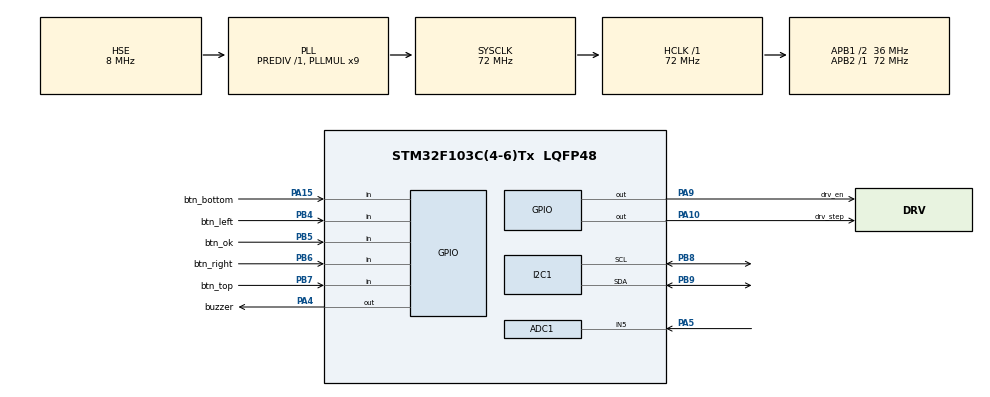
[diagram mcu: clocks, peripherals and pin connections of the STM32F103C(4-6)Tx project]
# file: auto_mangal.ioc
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ADC1.Channel-3\#ChannelRegularConversion=ADC_CHANNEL_5
ADC1.ContinuousConvMode=ENABLE
ADC1.NbrOfConversionFlag=1
ADC1.Rank-3\#ChannelRegularConversion=1
ADC1.SamplingTime-3\#ChannelRegularConversion=ADC_SAMPLETIME_1CYCLE_5
ADC1.master=1
FREERTOS.INCLUDE_eTaskGetState=1
FREERTOS.INCLUDE_xTaskAbortDelay=1
FREERTOS.Queues01=buttonPressedQueue,8,uint8_t,0,Dynamic,NULL,NULL
FREERTOS.Tasks01=readKeyTask,1,128,StartReadKeyTask,Default,NULL,Dynamic,NULL,NULL;guiTask,0,128,StartGuiTask,Default,NULL,Dynamic,NULL,NULL;driverTask,2,128,StartDriverTask,Default,NULL,Dynamic,NULL,NULL
FREERTOS.Timers01=cancelButton,cancelButtonCallback,osTimerOnce,Default,NULL,Dynamic,NULL;screenTimeoutTimer,screenTimeoutCallback,osTimerOnce,Default,NULL,Dynamic,NULL
FREERTOS.configUSE_TIMERS=1
Mcu.Family=STM32F1
Mcu.Name=STM32F103C(4-6)Tx
Mcu.Package=LQFP48
NVIC.PriorityGroup=NVIC_PRIORITYGROUP_4
PA10.GPIO_Label=drv_step
PA10.GPIO_PuPd=GPIO_PULLDOWN
PA10.GPIO_Speed=GPIO_SPEED_FREQ_LOW
PA10.Signal=GPIO_Output
PA13.Mode=Trace_Asynchronous_SW
PA13.Signal=SYS_JTMS-SWDIO
PA14.Mode=Trace_Asynchronous_SW
PA14.Signal=SYS_JTCK-SWCLK
PA15.GPIO_Label=btn_bottom
PA15.GPIO_PuPd=GPIO_PULLUP
PA15.Signal=GPIO_Input
PA4.GPIO_Label=buzzer
PA4.Signal=GPIO_Output
PA5.Signal=ADCx_IN5
PA9.GPIO_Label=drv_en
PA9.GPIO_PuPd=GPIO_PULLUP
PA9.PinState=GPIO_PIN_SET
PA9.Signal=GPIO_Output
PB3.Mode=Trace_Asynchronous_SW
PB3.Signal=SYS_JTDO-TRACESWO
PB4.GPIO_Label=btn_left
PB4.GPIO_PuPd=GPIO_PULLUP
PB4.Signal=GPIO_Input
PB5.GPIO_Label=btn_ok
PB5.GPIO_PuPd=GPIO_PULLUP
PB5.Signal=GPIO_Input
PB6.GPIO_Label=btn_right
PB6.GPIO_PuPd=GPIO_PULLUP
PB6.Signal=GPIO_Input
PB7.GPIO_Label=btn_top
PB7.GPIO_PuPd=GPIO_PULLUP
PB7.Signal=GPIO_Input
PB8.Mode=I2C
PB8.Signal=I2C1_SCL
PB9.Mode=I2C
PB9.Signal=I2C1_SDA
PD0-OSC_IN.Mode=HSE-External-Oscillator
PD0-OSC_IN.Signal=RCC_OSC_IN
PD1-OSC_OUT.Mode=HSE-External-Oscillator
PD1-OSC_OUT.Signal=RCC_OSC_OUT
ProjectManager.HeapSize=0x200
ProjectManager.StackSize=0x400
ProjectManager.TargetToolchain=STM32CubeIDE
RCC.ADCPresc=RCC_ADCPCLK2_DIV6
RCC.AHBFreq_Value=72000000
RCC.APB1CLKDivider=RCC_HCLK_DIV2
RCC.APB1Freq_Value=36000000
RCC.APB1TimFreq_Value=72000000
RCC.APB2Freq_Value=72000000
RCC.APB2TimFreq_Value=72000000
RCC.HCLKFreq_Value=72000000
RCC.PLLMUL=RCC_PLL_MUL9
RCC.PLLSourceVirtual=RCC_PLLSOURCE_HSE
RCC.SYSCLKFreq_VALUE=72000000
RCC.SYSCLKSource=RCC_SYSCLKSOURCE_PLLCLK
RCC.USBFreq_Value=72000000
SH.ADCx_IN5.0=ADC1_IN5,IN5
VP_FREERTOS_VS_CMSIS_V1.Mode=CMSIS_V1
board=custom

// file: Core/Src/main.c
/* USER CODE BEGIN Header */
/**
  ******************************************************************************
  * @file           : main.c
  * @brief          : Main program body
  ******************************************************************************
  * @attention
  *
  * Copyright (c) 2024 STMicroelectronics.
  * All rights reserved.
  *
  * This software is licensed under terms that can be found in the LICENSE file
  * in the root directory of this software component.
  * If no LICENSE file comes with this software, it is provided AS-IS.
  *
  ******************************************************************************
  */
/* USER CODE END Header */
#include "main.h"
#include "cmsis_os.h"

/* USER CODE BEGIN Includes */
#include "logo.h"
#include "ruFonts.h"
#include "ssd1306.h"
#include "stdio.h"
#include <math.h>

/* USER CODE END Includes */

ADC_HandleTypeDef hadc1;

I2C_HandleTypeDef hi2c1;

osThreadId readKeyTaskHandle;
osThreadId guiTaskHandle;
osThreadId driverTaskHandle;
osMessageQId buttonPressedQueueHandle;
osTimerId cancelButtonHandle;
osTimerId screenTimeoutTimerHandle;
/* USER CODE BEGIN PV */
uint16_t adcBatteryVoltage = 0;

uint8_t guiState = 0; //motor settings
uint8_t speed = 5;
uint8_t sleep = 60;
uint8_t corner = 45;
/* USER CODE END PV */

void SystemClock_Config(void);
static void MX_GPIO_Init(void);
static void MX_I2C1_Init(void);
static void MX_ADC1_Init(void);
void StartReadKeyTask(void const * argument);
void StartGuiTask(void const * argument);
void StartDriverTask(void const * argument);
void cancelButtonCallback(void const * argument);
void screenTimeoutCallback(void const * argument);

/* USER CODE BEGIN 0 */
int _write(int file, char *ptr, int len)
{
  (void)file;
  int DataIdx;

  for (DataIdx = 0; DataIdx < len; DataIdx++)
  {
    ITM_SendChar(*ptr++);
  }
  return len;
}
/* USER CODE END 0 */

int main(void)
{

  /* MCU Configuration--------------------------------------------------------*/

  /* Reset of all peripherals, Initializes the Flash interface and the Systick. */
  HAL_Init();

  /* Configure the system clock */
  SystemClock_Config();

  /* Initialize all configured peripherals */
  MX_GPIO_Init();
  MX_I2C1_Init();
  MX_ADC1_Init();
  /* USER CODE BEGIN 2 */

  ssd1306_Init();
  ssd1306_Fill(Black);
  ssd1306_DrawBitmap(43, 2, logo, 42, 42, White);
  ssd1306_SetCursor(11, 46);
  ssd1306_WriteString("АвтоШашлык V0.1", RuFont_7x13, White);
  ssd1306_UpdateScreen();
  HAL_ADCEx_Calibration_Start(&hadc1);
  //HAL_Delay(2000);

  /* USER CODE END 2 */

  /* Create the timer(s) */
  /* definition and creation of cancelButton */
  osTimerDef(cancelButton, cancelButtonCallback);
  cancelButtonHandle = osTimerCreate(osTimer(cancelButton), osTimerOnce, NULL);

  /* definition and creation of screenTimeoutTimer */
  osTimerDef(screenTimeoutTimer, screenTimeoutCallback);
  screenTimeoutTimerHandle = osTimerCreate(osTimer(screenTimeoutTimer), osTimerOnce, NULL);

  /* Create the queue(s) */
  /* definition and creation of buttonPressedQueue */
  osMessageQDef(buttonPressedQueue, 8, uint8_t);
  buttonPressedQueueHandle = osMessageCreate(osMessageQ(buttonPressedQueue), NULL);

  /* Create the thread(s) */
  /* definition and creation of readKeyTask */
  osThreadDef(readKeyTask, StartReadKeyTask, osPriorityAboveNormal, 0, 128);
  readKeyTaskHandle = osThreadCreate(osThread(readKeyTask), NULL);

  /* definition and creation of guiTask */
  osThreadDef(guiTask, StartGuiTask, osPriorityNormal, 0, 128);
  guiTaskHandle = osThreadCreate(osThread(guiTask), NULL);

  /* definition and creation of driverTask */
  osThreadDef(driverTask, StartDriverTask, osPriorityHigh, 0, 128);
  driverTaskHandle = osThreadCreate(osThread(driverTask), NULL);

  /* USER CODE BEGIN RTOS_THREADS */
  /* add threads, ... */
  osThreadSuspend(driverTaskHandle);
  /* USER CODE END RTOS_THREADS */

  /* Start scheduler */
  osKernelStart();

  /* We should never get here as control is now taken by the scheduler */

  /* Infinite loop */
  while (1)
  {

  }
}

void SystemClock_Config(void)
{
  RCC_OscInitTypeDef RCC_OscInitStruct = {0};
  RCC_ClkInitTypeDef RCC_ClkInitStruct = {0};
  RCC_PeriphCLKInitTypeDef PeriphClkInit = {0};

  /** Initializes the RCC Oscillators according to the specified parameters
  * in the RCC_OscInitTypeDef structure.
  */
  RCC_OscInitStruct.OscillatorType = RCC_OSCILLATORTYPE_HSE;
  RCC_OscInitStruct.HSEState = RCC_HSE_ON;
  RCC_OscInitStruct.HSEPredivValue = RCC_HSE_PREDIV_DIV1;
  RCC_OscInitStruct.HSIState = RCC_HSI_ON;
  RCC_OscInitStruct.PLL.PLLState = RCC_PLL_ON;
  RCC_OscInitStruct.PLL.PLLSource = RCC_PLLSOURCE_HSE;
  RCC_OscInitStruct.PLL.PLLMUL = RCC_PLL_MUL9;
  if (HAL_RCC_OscConfig(&RCC_OscInitStruct) != HAL_OK)
  {
    Error_Handler();
  }

  /** Initializes the CPU, AHB and APB buses clocks
  */
  RCC_ClkInitStruct.ClockType = RCC_CLOCKTYPE_HCLK|RCC_CLOCKTYPE_SYSCLK
                              |RCC_CLOCKTYPE_PCLK1|RCC_CLOCKTYPE_PCLK2;
  RCC_ClkInitStruct.SYSCLKSource = RCC_SYSCLKSOURCE_PLLCLK;
  RCC_ClkInitStruct.AHBCLKDivider = RCC_SYSCLK_DIV1;
  RCC_ClkInitStruct.APB1CLKDivider = RCC_HCLK_DIV2;
  RCC_ClkInitStruct.APB2CLKDivider = RCC_HCLK_DIV1;

  if (HAL_RCC_ClockConfig(&RCC_ClkInitStruct, FLASH_LATENCY_2) != HAL_OK)
  {
    Error_Handler();
  }
  PeriphClkInit.PeriphClockSelection = RCC_PERIPHCLK_ADC;
  PeriphClkInit.AdcClockSelection = RCC_ADCPCLK2_DIV6;
  if (HAL_RCCEx_PeriphCLKConfig(&PeriphClkInit) != HAL_OK)
  {
    Error_Handler();
  }
}

static void MX_ADC1_Init(void)
{

  ADC_ChannelConfTypeDef sConfig = {0};

  /** Common config
  */
  hadc1.Instance = ADC1;
  hadc1.Init.ScanConvMode = ADC_SCAN_DISABLE;
  hadc1.Init.ContinuousConvMode = ENABLE;
  hadc1.Init.DiscontinuousConvMode = DISABLE;
  hadc1.Init.ExternalTrigConv = ADC_SOFTWARE_START;
  hadc1.Init.DataAlign = ADC_DATAALIGN_RIGHT;
  hadc1.Init.NbrOfConversion = 1;
  if (HAL_ADC_Init(&hadc1) != HAL_OK)
  {
    Error_Handler();
  }

  /** Configure Regular Channel
  */
  sConfig.Channel = ADC_CHANNEL_5;
  sConfig.Rank = ADC_REGULAR_RANK_1;
  sConfig.SamplingTime = ADC_SAMPLETIME_1CYCLE_5;
  if (HAL_ADC_ConfigChannel(&hadc1, &sConfig) != HAL_OK)
  {
    Error_Handler();
  }

}

static void MX_I2C1_Init(void)
{

  hi2c1.Instance = I2C1;
  hi2c1.Init.ClockSpeed = 100000;
  hi2c1.Init.DutyCycle = I2C_DUTYCYCLE_2;
  hi2c1.Init.OwnAddress1 = 0;
  hi2c1.Init.AddressingMode = I2C_ADDRESSINGMODE_7BIT;
  hi2c1.Init.DualAddressMode = I2C_DUALADDRESS_DISABLE;
  hi2c1.Init.OwnAddress2 = 0;
  hi2c1.Init.GeneralCallMode = I2C_GENERALCALL_DISABLE;
  hi2c1.Init.NoStretchMode = I2C_NOSTRETCH_DISABLE;
  if (HAL_I2C_Init(&hi2c1) != HAL_OK)
  {
    Error_Handler();
  }

}

static void MX_GPIO_Init(void)
{
  GPIO_InitTypeDef GPIO_InitStruct = {0};

  /* GPIO Ports Clock Enable */
  __HAL_RCC_GPIOD_CLK_ENABLE();
  __HAL_RCC_GPIOA_CLK_ENABLE();
  __HAL_RCC_GPIOB_CLK_ENABLE();

  /*Configure GPIO pin Output Level */
  HAL_GPIO_WritePin(GPIOA, buzzer_Pin|drv_step_Pin, GPIO_PIN_RESET);

  /*Configure GPIO pin Output Level */
  HAL_GPIO_WritePin(drv_en_GPIO_Port, drv_en_Pin, GPIO_PIN_SET);

  /*Configure GPIO pin : buzzer_Pin */
  GPIO_InitStruct.Pin = buzzer_Pin;
  GPIO_InitStruct.Mode = GPIO_MODE_OUTPUT_PP;
  GPIO_InitStruct.Pull = GPIO_NOPULL;
  GPIO_InitStruct.Speed = GPIO_SPEED_FREQ_LOW;
  HAL_GPIO_Init(buzzer_GPIO_Port, &GPIO_InitStruct);

  /*Configure GPIO pin : drv_en_Pin */
  GPIO_InitStruct.Pin = drv_en_Pin;
  GPIO_InitStruct.Mode = GPIO_MODE_OUTPUT_PP;
  GPIO_InitStruct.Pull = GPIO_PULLUP;
  GPIO_InitStruct.Speed = GPIO_SPEED_FREQ_LOW;
  HAL_GPIO_Init(drv_en_GPIO_Port, &GPIO_InitStruct);

  /*Configure GPIO pin : drv_step_Pin */
  GPIO_InitStruct.Pin = drv_step_Pin;
  GPIO_InitStruct.Mode = GPIO_MODE_OUTPUT_PP;
  GPIO_InitStruct.Pull = GPIO_PULLDOWN;
  GPIO_InitStruct.Speed = GPIO_SPEED_FREQ_LOW;
  HAL_GPIO_Init(drv_step_GPIO_Port, &GPIO_InitStruct);

  /*Configure GPIO pin : btn_bottom_Pin */
  GPIO_InitStruct.Pin = btn_bottom_Pin;
  GPIO_InitStruct.Mode = GPIO_MODE_INPUT;
  GPIO_InitStruct.Pull = GPIO_PULLUP;
  HAL_GPIO_Init(btn_bottom_GPIO_Port, &GPIO_InitStruct);

  /*Configure GPIO pins : btn_left_Pin btn_ok_Pin btn_right_Pin btn_top_Pin */
  GPIO_InitStruct.Pin = btn_left_Pin|btn_ok_Pin|btn_right_Pin|btn_top_Pin;
  GPIO_InitStruct.Mode = GPIO_MODE_INPUT;
  GPIO_InitStruct.Pull = GPIO_PULLUP;
  HAL_GPIO_Init(GPIOB, &GPIO_InitStruct);

}

void StartReadKeyTask(void const * argument)
{
  /* USER CODE BEGIN 5 */
  #define SCREEN_TIMEOUT 30000
  osTimerStart(screenTimeoutTimerHandle, SCREEN_TIMEOUT);
  /* Infinite loop */
  for(;;)
  {

	if (HAL_GPIO_ReadPin(btn_bottom_GPIO_Port, btn_bottom_Pin) == 0) {
	    if (ssd1306_GetDisplayOn()==0) osMessagePut(buttonPressedQueueHandle, 6, 100); else osMessagePut(buttonPressedQueueHandle, 0, 100);
	    while(HAL_GPIO_ReadPin(btn_bottom_GPIO_Port, btn_bottom_Pin) == 0)
	    {
		    osDelay(1);
	    }
	    osTimerStart(screenTimeoutTimerHandle, SCREEN_TIMEOUT);
	}
	else if (HAL_GPIO_ReadPin(btn_top_GPIO_Port, btn_top_Pin) == 0) {
	    if (ssd1306_GetDisplayOn()==0) osMessagePut(buttonPressedQueueHandle, 6, 100); else osMessagePut(buttonPressedQueueHandle, 1, 100);
	    while(HAL_GPIO_ReadPin(btn_top_GPIO_Port, btn_top_Pin) == 0)
	    {
		    osDelay(1);
	    }
	    osTimerStart(screenTimeoutTimerHandle, SCREEN_TIMEOUT);
	}
	else if (HAL_GPIO_ReadPin(btn_left_GPIO_Port, btn_left_Pin) == 0) {
	    if (ssd1306_GetDisplayOn()==0) osMessagePut(buttonPressedQueueHandle, 6, 100); else osMessagePut(buttonPressedQueueHandle, 2, 100);
	    while(HAL_GPIO_ReadPin(btn_left_GPIO_Port, btn_left_Pin) == 0)
	    {
		    osDelay(1);
	    }
	    osTimerStart(screenTimeoutTimerHandle, SCREEN_TIMEOUT);
	}
	else if (HAL_GPIO_ReadPin(btn_right_GPIO_Port, btn_right_Pin) == 0) {
	    if (ssd1306_GetDisplayOn()==0) osMessagePut(buttonPressedQueueHandle, 6, 100); else osMessagePut(buttonPressedQueueHandle, 3, 100);
	    while(HAL_GPIO_ReadPin(btn_right_GPIO_Port, btn_right_Pin) == 0)
	    {
		    osDelay(1);
	    }
	    osTimerStart(screenTimeoutTimerHandle, SCREEN_TIMEOUT);
	}
	else if (HAL_GPIO_ReadPin(btn_ok_GPIO_Port, btn_ok_Pin) == 0) {
	    osTimerStart(cancelButtonHandle, 1000);
	    while(HAL_GPIO_ReadPin(btn_ok_GPIO_Port, btn_ok_Pin) == 0)
	    {
		    osDelay(1);
	    }
	    osTimerStart(screenTimeoutTimerHandle, SCREEN_TIMEOUT);
	    if (xTimerIsTimerActive(cancelButtonHandle) != pdFALSE) {
		if (ssd1306_GetDisplayOn()==0) osMessagePut(buttonPressedQueueHandle, 6, 100); else osMessagePut(buttonPressedQueueHandle, 4, 100);
		//short press
	    }
	    osTimerStop(cancelButtonHandle);
	}

    osDelay(10);
  }
  /* USER CODE END 5 */
}

void StartGuiTask(void const * argument)
{
  /* USER CODE BEGIN StartGuiTask */
  osEvent btnEvent;
  uint8_t selectedMode = 0;
  uint8_t intermittentModeMenuPointer = 0;
  /* Infinite loop */

  for(;;)
  {
      HAL_ADC_Start(&hadc1); // запускаем преобразование сигнала АЦП
      HAL_ADC_PollForConversion(&hadc1, 100); // ожидаем окончания преобразования
      adcBatteryVoltage = HAL_ADC_GetValue(&hadc1); // читаем полученное значение в переменную adc
      HAL_ADC_Stop(&hadc1); // останавливаем АЦП (не обязательно)
      printf("ADC %d\n", adcBatteryVoltage);

      ssd1306_Fill(Black);
      ssd1306_DrawRectangle(0, 0, 127, 63, White);

      if(adcBatteryVoltage > 3523)
	{
	  ssd1306_DrawRectangle(102, 3, 122, 12, White);
	  ssd1306_FillRectangle(104, 5, 108, 10, White);
	  ssd1306_FillRectangle(110, 5, 114, 10, White);
	  ssd1306_FillRectangle(116, 5, 120, 10, White);
	  ssd1306_DrawRectangle(123, 6, 124, 9, White);
	}
      else if(adcBatteryVoltage > 3237 && adcBatteryVoltage < 3522)
	{
	  ssd1306_DrawRectangle(102, 3, 122, 12, White);
	  ssd1306_FillRectangle(104, 5, 108, 10, White);
	  ssd1306_FillRectangle(110, 5, 114, 10, White);
	  ssd1306_DrawRectangle(123, 6, 124, 9, White);
	}
      else if(adcBatteryVoltage > 3047 && adcBatteryVoltage < 3236)
	{
	  ssd1306_DrawRectangle(102, 3, 122, 12, White);
	  ssd1306_FillRectangle(104, 5, 108, 10, White);
	  ssd1306_DrawRectangle(123, 6, 124, 9, White);
	}
      else if(adcBatteryVoltage < 3046)
	{
	  ssd1306_DrawRectangle(102, 3, 122, 12, White);
	  ssd1306_DrawRectangle(123, 6, 124, 9, White);
	}

      btnEvent = osMessageGet(buttonPressedQueueHandle, 100);

      switch (guiState) {
	case 0: // mode select
	  ssd1306_SetCursor(1,1);
	  ssd1306_WriteString("Выбор режима", RuFont_7x13, Black);
	  if (selectedMode == 0) {
	    ssd1306_SetCursor(4,16);
	    ssd1306_WriteString("> Постоянный", RuFont_7x13, White);
	    ssd1306_SetCursor(4,30);
	    ssd1306_WriteString("  Прерывистый", RuFont_7x13, White);
	  } else if (selectedMode == 1) {
	    ssd1306_SetCursor(4,16);
	    ssd1306_WriteString("  Постоянный", RuFont_7x13, White);
	    ssd1306_SetCursor(4,30);
	    ssd1306_WriteString("> Прерывистый", RuFont_7x13, White);
	  }
	  if (btnEvent.status == osEventMessage)
	  {
	    if (btnEvent.value.v == 0 || btnEvent.value.v == 1)
	    { //bottom or top
	      selectedMode = !selectedMode;
	    } else if (btnEvent.value.v == 4)
	    { //ok
	      if (selectedMode == 0)
	      {
		  guiState = 1;
	      } else if (selectedMode == 1)
	      {
		  guiState = 2;
	      }
	    }
	  }
	  break;
	case 1:
	  osThreadResume(driverTaskHandle);
	  ssd1306_SetCursor(1,1);
	  ssd1306_WriteString("Пост. реж.", RuFont_7x13, Black);
	  ssd1306_SetCursor(4,16);
	  ssd1306_WriteString("> Скорость: ", RuFont_7x13, White);
	  ssd1306_SetCursor(88,16);
	  char speedStr[3];
	  sprintf(speedStr, "%d", speed);
	  ssd1306_WriteString(speedStr, RuFont_7x13, White);
	  if (btnEvent.status == osEventMessage)
	  {
	    if (btnEvent.value.v == 2)
	    { //left
		if(speed == 1)
		{
		  speed = 10;
		}
		else
		{
		  speed--;
		}

	    } else if ( btnEvent.value.v == 3)
	      {//right
		if(speed == 10)
		{
		  speed = 1;
		}
		else
		{
		  speed++;
		}
	      }
	      else if (btnEvent.value.v == 5)
	    { //cancel
		guiState = 0;
		osThreadSuspend(driverTaskHandle);
		HAL_GPIO_WritePin(drv_en_GPIO_Port, drv_en_Pin, 1);
	    }
	  }
	  break;
	case 2:
	  osThreadResume(driverTaskHandle);
	  ssd1306_SetCursor(1,1);
	  ssd1306_WriteString("Прерыв. реж.", RuFont_7x13, Black);
	  if(intermittentModeMenuPointer == 0)
	   {
	      ssd1306_SetCursor(4,16);
	      ssd1306_WriteString("> Задержка: ", RuFont_7x13, White);
	      ssd1306_SetCursor(88,16);

	      uint8_t min = sleep / 60;
	      uint8_t sec = sleep % 60;

	      char minStr[2];
	      char secStr[2];

	      sprintf(minStr, "%d", min);
	      sprintf(secStr, "%d", sec);

	      char timeStr[5];

	      if(min <= 9)
	      {
		timeStr[0] = '0';
		timeStr[1] = minStr[0];
	      }
	      else
	      {
		timeStr[0] = minStr[0];
		timeStr[1] = timeStr[1];
	      }

	      timeStr[2] = ':';

	      if(sec <= 9)
	      {
		timeStr[3] = '0';
		timeStr[4] = secStr[0];
	      }
	      else
	      {
		timeStr[3] = secStr[0];
		timeStr[4] = secStr[1];
	      }

	      ssd1306_WriteString(timeStr, RuFont_7x13, White);
	      ssd1306_SetCursor(4,30);
	      ssd1306_WriteString("  Угол: ", RuFont_7x13, White);
	      ssd1306_SetCursor(56, 30);
	      char cornerStr[5];
	      sprintf(cornerStr, "%d", corner);
	      ssd1306_WriteString(cornerStr, RuFont_7x13, White);
	   }
	  else if(intermittentModeMenuPointer == 1)
	  {
	      ssd1306_SetCursor(4,16);
	      ssd1306_WriteString("  Задержка: ", RuFont_7x13, White);
	      ssd1306_SetCursor(88,16);

	      uint8_t min = sleep / 60;
	      uint8_t sec = sleep % 60;

	      char minStr[2];
	      char secStr[2];

	      sprintf(minStr, "%d", min);
	      sprintf(secStr, "%d", sec);

	      char timeStr[5];

	      if(min <= 9)
	      {
		timeStr[0] = '0';
		timeStr[1] = minStr[0];
	      }
	      else
	      {
		timeStr[0] = minStr[0];
		timeStr[1] = timeStr[1];
	      }

	      timeStr[2] = ':';

	      if(sec <= 9)
	      {
		timeStr[3] = '0';
		timeStr[4] = secStr[0];
	      }
	      else
	      {
		timeStr[3] = secStr[0];
		timeStr[4] = secStr[1];
	      }

	      ssd1306_WriteString(timeStr, RuFont_7x13, White);
	      ssd1306_SetCursor(4,30);
	      ssd1306_WriteString("> Угол: ", RuFont_7x13, White);
	      ssd1306_SetCursor(56, 30);
	      char cornerStr[3];
	      sprintf(cornerStr, "%d", corner);
	      ssd1306_WriteString(cornerStr, RuFont_7x13, White);
	  }
	  if (btnEvent.status == osEventMessage)
	  {
	    if (btnEvent.value.v == 0 || btnEvent.value.v == 1)
	    { //bottom or top
		intermittentModeMenuPointer = !intermittentModeMenuPointer;
	    } else if (btnEvent.value.v == 3)
	    {//right
		xTaskAbortDelay(driverTaskHandle);
		if(intermittentModeMenuPointer == 0)
		  {
		    if(sleep == 250)
		      sleep = 10;
		    else
		      sleep+=10;
		  }
		else if(intermittentModeMenuPointer == 1)
		  {
		    if(corner == 45)
			corner = 90;
		    else if(corner == 90)
		      corner = 45;
		  }
	    } else if (btnEvent.value.v == 2)
	      { //left
		xTaskAbortDelay(driverTaskHandle);
		if(intermittentModeMenuPointer == 0)
		  {
		    if(sleep == 10)
		      sleep = 250;
		    else
		      sleep-=10;
		  }
		else if(intermittentModeMenuPointer == 1)
		  {
		    if(corner == 45)
			corner = 90;
		    else if(corner == 90)
		      corner = 45;
		  }
	      }
	    else if (btnEvent.value.v == 5)
	    { //cancel
		guiState = 0;
		HAL_GPIO_WritePin(drv_en_GPIO_Port, drv_en_Pin, 1);
		osThreadSuspend(driverTaskHandle);

	    }
	  }
	  break;

	}

	if (btnEvent.status == osEventMessage)
	{
	  if (btnEvent.value.v == 0) { //bottom
		  HAL_GPIO_WritePin(buzzer_GPIO_Port, buzzer_Pin, 1);
		  osDelay(30);
		  HAL_GPIO_WritePin(buzzer_GPIO_Port, buzzer_Pin, 0);
	  } else if (btnEvent.value.v == 1) { //top
		  HAL_GPIO_WritePin(buzzer_GPIO_Port, buzzer_Pin, 1);
		  osDelay(30);
		  HAL_GPIO_WritePin(buzzer_GPIO_Port, buzzer_Pin, 0);
	  } else if (btnEvent.value.v == 2) { //left
		  HAL_GPIO_WritePin(buzzer_GPIO_Port, buzzer_Pin, 1);
		  osDelay(30);
		  HAL_GPIO_WritePin(buzzer_GPIO_Port, buzzer_Pin, 0);
	  } else if (btnEvent.value.v == 3) { //right
		  HAL_GPIO_WritePin(buzzer_GPIO_Port, buzzer_Pin, 1);
		  osDelay(30);
		  HAL_GPIO_WritePin(buzzer_GPIO_Port, buzzer_Pin, 0);
	  } else if (btnEvent.value.v == 4) { //ok
		  HAL_GPIO_WritePin(buzzer_GPIO_Port, buzzer_Pin, 1);
		  osDelay(50);
		  HAL_GPIO_WritePin(buzzer_GPIO_Port, buzzer_Pin, 0);
		  osDelay(50);
		  HAL_GPIO_WritePin(buzzer_GPIO_Port, buzzer_Pin, 1);
		  osDelay(30);
		  HAL_GPIO_WritePin(buzzer_GPIO_Port, buzzer_Pin, 0);
	  } else if (btnEvent.value.v == 5) { //cancel
		  HAL_GPIO_WritePin(buzzer_GPIO_Port, buzzer_Pin, 1);
		  osDelay(250);
		  HAL_GPIO_WritePin(buzzer_GPIO_Port, buzzer_Pin, 0);
	  } else if (btnEvent.value.v == 6) { //displayUnlock
		  ssd1306_SetDisplayOn(1);
	  }

	}

	ssd1306_UpdateScreen();
	osDelay(10);//
  }
  /* USER CODE END StartGuiTask */
}

void StartDriverTask(void const * argument)
{
  /* USER CODE BEGIN StartDriverTask */
  /* Infinite loop */
  for(;;)
  {
    HAL_GPIO_WritePin(drv_en_GPIO_Port, drv_en_Pin, 0);
    if (guiState == 1)  { //Постоянный
	HAL_GPIO_TogglePin(drv_step_GPIO_Port, drv_step_Pin);
	osDelay(fabs(speed-11));
    } else

    if (guiState == 2)  { //Прерывистый
      switch (corner) {
	case 45:
	  for (int var = 0; var < 800; var++) {
	    HAL_GPIO_TogglePin(drv_step_GPIO_Port, drv_step_Pin);
	    osDelay(1);
	  }
	  break;
	case 90:
	  for (int var = 0; var < 1600; var++) {
	    HAL_GPIO_TogglePin(drv_step_GPIO_Port, drv_step_Pin);
	    osDelay(1);
	  }
	  break;
      }
      osDelay(sleep*1000);
    }
  }
  /* USER CODE END StartDriverTask */
}

/* cancelButtonCallback function */
void cancelButtonCallback(void const * argument)
{
  /* USER CODE BEGIN cancelButtonCallback */
  if (ssd1306_GetDisplayOn()==0) osMessagePut(buttonPressedQueueHandle, 6, 100); else osMessagePut(buttonPressedQueueHandle, 5, 100);
  /* USER CODE END cancelButtonCallback */
}

/* screenTimeoutCallback function */
void screenTimeoutCallback(void const * argument)
{
  /* USER CODE BEGIN screenTimeoutCallback */
  ssd1306_SetDisplayOn(0);
  /* USER CODE END screenTimeoutCallback */
}

void Error_Handler(void)
{
  __disable_irq();
  while (1)
  {
  }
}
